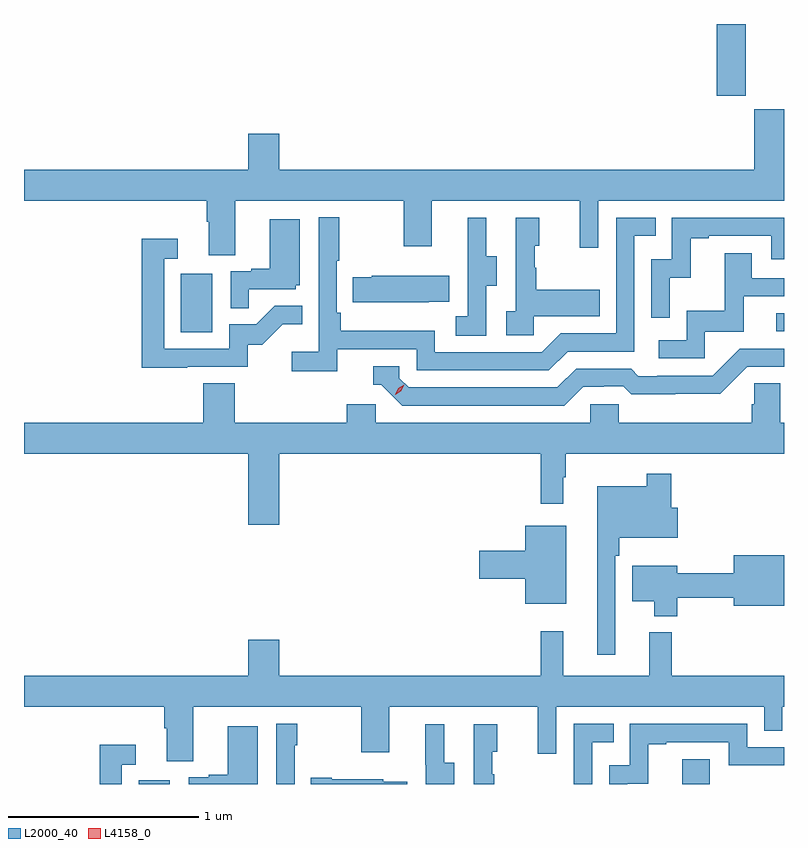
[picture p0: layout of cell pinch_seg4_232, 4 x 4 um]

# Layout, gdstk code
import gdstk
lib = gdstk.Library(unit=1e-6, precision=1e-09)
def R(c, l, rs):  # rectangles x0, y0, x1, y1
    for r in rs: c.add(gdstk.rectangle(r[:2], r[2:], *l))
def P(c, l, *ps):  # polygons
    for p in ps: c.add(gdstk.Polygon(p, *l))
L2000_40 = (2000, 40)
L4158_0 = (4158, 0)

pinch_seg4_232 = lib.new_cell('pinch_seg4_232')
R(pinch_seg4_232, L2000_40, [(919.676,816.394,919.84,816.415), (922.537,816.394,922.681,816.523), (919.898,818.772,920.062,819.079), (923.031,818.778,923.072,818.871), (922.718,820.017,922.87,820.394)])
P(pinch_seg4_232, L2000_40, [(920.185,819.464),(921.07,819.464),(921.07,819.225),(921.217,819.225),(921.217,819.464),(921.998,819.464),(921.998,819.216),(922.095,819.216),(922.095,819.464),(923.072,819.464),(923.072,819.945),(922.916,819.945),(922.916,819.628),(920.416,819.628),(920.416,819.817),(920.252,819.817),(920.252,819.628),(919.072,819.628),(919.072,819.464),(920.033,819.464),(920.033,819.352),(920.045,819.352),(920.045,819.178),(920.185,819.178)],
  [(920.72,818.682),(921.138,818.682),(921.138,818.571),(921.835,818.571),(921.934,818.67),(922.284,818.67),(922.284,819.279),(922.397,819.279),(922.397,819.375),(922.188,819.375),(922.188,818.766),(921.897,818.766),(921.798,818.667),(921.234,818.667),(921.234,818.779),(920.738,818.779),(920.738,818.875),(920.718,818.875),(920.718,819.148),(920.731,819.148),(920.731,819.376),(920.622,819.376),(920.622,818.668),(920.481,818.668),(920.481,818.566),(920.72,818.566)],
  [(922.47,819.059),(922.58,819.059),(922.58,819.267),(922.675,819.267),(922.675,819.279),(923.004,819.279),(923.004,819.156),(923.072,819.156),(923.072,819.375),(922.482,819.375),(922.482,819.156),(922.374,819.156),(922.374,818.847),(922.47,818.847)],
  [(921.756,818.855),(922.103,818.855),(922.103,818.995),(921.769,818.995),(921.769,819.11),(921.759,819.11),(921.759,819.228),(921.784,819.228),(921.784,819.373),(921.66,819.373),(921.66,818.882),(921.609,818.882),(921.609,818.757),(921.756,818.757)],
  [(921.504,819.016),(921.559,819.016),(921.559,819.171),(921.505,819.171),(921.505,819.373),(921.407,819.373),(921.407,819.159),(921.408,819.159),(921.408,818.855),(921.345,818.855),(921.345,818.752),(921.504,818.752)],
  [(920.255,818.997),(920.502,818.997),(920.502,819.018),(920.524,819.018),(920.524,819.367),(920.366,819.367),(920.366,819.106),(920.267,819.106),(920.267,819.093),(920.16,819.093),(920.16,818.899),(920.255,818.899)],
  [(919.931,818.589),(920.25,818.589),(920.25,818.706),(920.326,818.706),(920.433,818.813),(920.537,818.813),(920.537,818.912),(920.393,818.912),(920.295,818.814),(920.151,818.814),(920.151,818.685),(919.809,818.685),(919.809,819.159),(919.882,819.159),(919.882,819.265),(919.693,819.265),(919.693,818.584),(919.931,818.584)],
  [(922.656,818.775),(922.861,818.775),(922.861,818.961),(923.072,818.961),(923.072,819.057),(922.903,819.057),(922.903,819.187),(922.759,819.187),(922.759,818.884),(922.56,818.884),(922.56,818.73),(922.413,818.73),(922.413,818.634),(922.656,818.634)],
  [(921.203,818.933),(921.311,818.933),(921.311,819.07),(920.901,819.07),(920.901,819.06),(920.803,819.06),(920.803,818.93),(921.203,818.93)],
  [(922.015,818.484),(922.122,818.484),(922.122,818.487),(922.225,818.487),(922.267,818.445),(922.5,818.445),(922.5,818.447),(922.736,818.447),(922.878,818.589),(923.072,818.589),(923.072,818.685),(922.839,818.685),(922.698,818.544),(922.405,818.544),(922.405,818.541),(922.306,818.541),(922.267,818.58),(921.978,818.58),(921.879,818.481),(921.096,818.481),(921.048,818.529),(921.048,818.592),(920.909,818.592),(920.909,818.496),(920.952,818.496),(921.063,818.385),(921.916,818.385)],
  [(920.416,818.132),(921.793,818.132),(921.793,817.869),(921.91,817.869),(921.91,818.009),(921.922,818.009),(921.922,818.132),(923.072,818.132),(923.072,818.296),(923.052,818.296),(923.052,818.504),(922.915,818.504),(922.915,818.394),(922.901,818.394),(922.901,818.296),(922.203,818.296),(922.203,818.394),(922.053,818.394),(922.053,818.296),(920.922,818.296),(920.922,818.394),(920.771,818.394),(920.771,818.296),(920.18,818.296),(920.18,818.504),(920.015,818.504),(920.015,818.296),(919.072,818.296),(919.072,818.132),(920.252,818.132),(920.252,817.758),(920.416,817.758)],
  [(922.185,817.595),(922.205,817.595),(922.205,817.691),(922.513,817.691),(922.513,817.849),(922.478,817.849),(922.478,818.026),(922.35,818.026),(922.35,817.96),(922.088,817.96),(922.088,817.074),(922.185,817.074)],
  [(921.925,817.753),(921.71,817.753),(921.71,817.622),(921.468,817.622),(921.468,817.475),(921.71,817.475),(921.71,817.343),(921.925,817.343)],
  [(922.51,817.374),(922.808,817.374),(922.808,817.331),(923.072,817.331),(923.072,817.597),(922.808,817.597),(922.808,817.502),(922.51,817.502),(922.51,817.543),(922.274,817.543),(922.274,817.355),(922.388,817.355),(922.388,817.277),(922.51,817.277)],
  [(919.963,816.8),(920.848,816.8),(920.848,816.561),(920.995,816.561),(920.995,816.8),(921.776,816.8),(921.776,816.552),(921.873,816.552),(921.873,816.8),(922.968,816.8),(922.968,816.673),(923.064,816.673),(923.064,816.8),(923.072,816.8),(923.072,816.964),(922.481,816.964),(922.481,817.192),(922.364,817.192),(922.364,816.964),(921.911,816.964),(921.911,817.198),(921.793,817.198),(921.793,816.964),(920.416,816.964),(920.416,817.153),(920.252,817.153),(920.252,816.964),(919.072,816.964),(919.072,816.8),(919.811,816.8),(919.811,816.688),(919.823,816.688),(919.823,816.514),(919.963,816.514)],
  [(920.496,816.599),(920.509,816.599),(920.509,816.712),(920.4,816.712),(920.4,816.394),(920.496,816.394)],
  [(922.062,816.615),(922.175,816.615),(922.175,816.711),(921.966,816.711),(921.966,816.394),(922.062,816.394)],
  [(922.248,816.395),(922.358,816.395),(922.358,816.603),(922.453,816.603),(922.453,816.615),(922.782,816.615),(922.782,816.492),(923.072,816.492),(923.072,816.588),(922.878,816.588),(922.878,816.711),(922.26,816.711),(922.26,816.492),(922.152,816.492),(922.152,816.394),(922.248,816.394)],
  [(921.547,816.446),(921.537,816.446),(921.537,816.564),(921.562,816.564),(921.562,816.709),(921.438,816.709),(921.438,816.394),(921.547,816.394)],
  [(921.337,816.507),(921.283,816.507),(921.283,816.709),(921.185,816.709),(921.185,816.495),(921.186,816.495),(921.186,816.394),(921.337,816.394)],
  [(920.302,816.697),(920.144,816.697),(920.144,816.442),(920.045,816.442),(920.045,816.429),(919.938,816.429),(919.938,816.394),(920.302,816.394)],
  [(919.587,816.495),(919.66,816.495),(919.66,816.601),(919.471,816.601),(919.471,816.394),(919.587,816.394)],
  [(921.089,816.406),(920.964,816.406),(920.964,816.418),(920.692,816.418),(920.692,816.426),(920.581,816.426),(920.581,816.394),(921.089,816.394)])
P(pinch_seg4_232, L4158_0, [(921.025,818.443),(921.025,818.443),(921.041,818.476),(921.072,818.495),(921.072,818.495),(921.072,818.495),(921.056,818.462),(921.025,818.443)])

lib.write_gds('pinch_seg4_232.gds')
